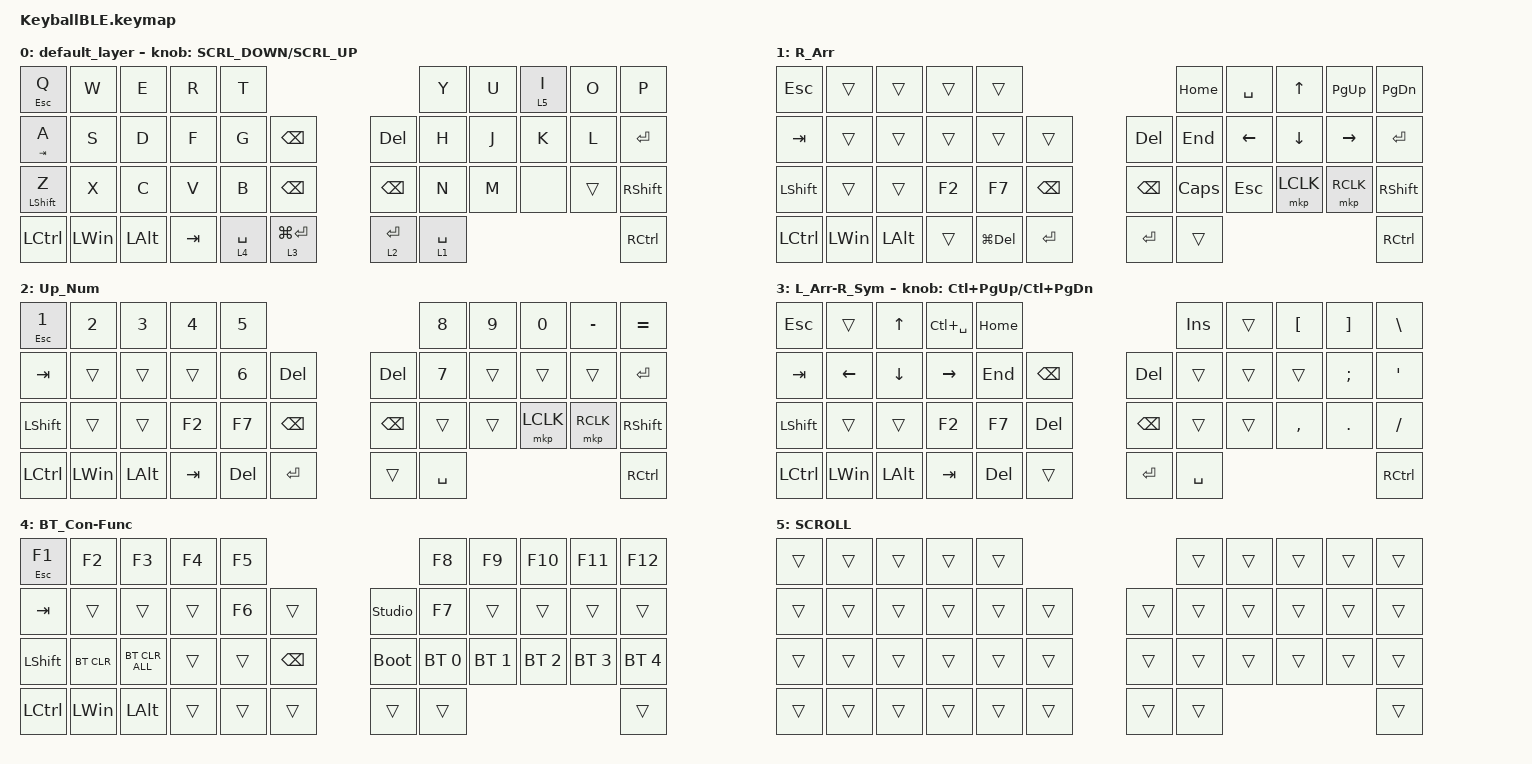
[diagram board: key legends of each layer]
#define ZMK_POINTING_DEFAULT_SCRL_VAL 120    // default: 10

#include <behaviors.dtsi>
#include <dt-bindings/zmk/bt.h>
#include <dt-bindings/zmk/keys.h>
#include <dt-bindings/zmk/pointing.h>

#define MOUSE 4
#define SCROLL 5
#define NUM 6

&mt {
    flavor = "balanced";
    quick-tap-ms = <0>;
};

/ {
    combos {
        compatible = "zmk,combos";

        Lclick {
            bindings = <&mkp LCLK>;
            key-positions = <30 31 30 31>;
            timeout-ms = <30>;
        };

        Rclick {
            bindings = <&mkp RCLK>;
            key-positions = <31 32>;
            timeout-ms = <30>;
        };

        Scroll {
            bindings = <&tog 5>;
            key-positions = <7 8>;
            timeout-ms = <30>;
        };

        Pre {
            bindings = <&mkp MB4>;
            key-positions = <18 19>;
            timeout-ms = <30>;
        };

        Next {
            bindings = <&mkp MB5>;
            key-positions = <19 20>;
            timeout-ms = <30>;
        };
    };

    macros {
        to_layer_0: to_layer_0 {
            compatible = "zmk,behavior-macro-one-param";
            #binding-cells = <1>;
            bindings = <&to 0 &macro_param_1to1 &kp MACRO_PLACEHOLDER>;
            label = "TO_LAYER_0";
        };

        switch_Jap_Eng: switch_Jap_Eng {
            compatible = "zmk,behavior-macro";
            #binding-cells = <0>;
            bindings = <&switch_Jap_Eng>;
            label = "SWITCH_JAP_ENG";
        };
    };

    behaviors {
        lt_to_layer_0: lt_to_layer_0 {
            compatible = "zmk,behavior-hold-tap";
            label = "LAYER_TAP_TO_0";
            bindings = <&mo>, <&to_layer_0>;

            #binding-cells = <2>;
            tapping-term-ms = <200>;
        };

        ROTATE: ROTATE {
            compatible = "zmk,behavior-sensor-rotate-var";
            label = "ROTATE";
            #sensor-binding-cells = <2>;
            bindings = <&msc>, <&msc>;

            tap-ms = <20>;
        };
    };

    keymap {
        compatible = "zmk,keymap";

        default_layer {
            bindings = <
&mt ESCAPE Q      &kp W         &kp E         &kp R    &kp T                                                       &kp Y        &kp U  &lt 5 I  &kp O   &kp P
&mt TAB A         &kp S         &kp D         &kp F    &kp G        &kp BACKSPACE                   &kp DELETE     &kp H        &kp J  &kp K    &kp L   &kp ENTER
&mt LEFT_SHIFT Z  &kp X         &kp C         &kp V    &kp B        &kp BACKSPACE                   &kp BACKSPACE  &kp N        &kp M  &none    &trans  &kp RIGHT_SHIFT
&kp LCTRL         &kp LEFT_WIN  &kp LEFT_ALT  &kp TAB  &lt 4 SPACE  &lt_to_layer_0 3 LG(ENTER)      &lt 2 ENTER    &lt 1 SPACE                          &kp RIGHT_CONTROL
            >;

            sensor-bindings = <&ROTATE SCRL_DOWN SCRL_UP>;
        };

        R_Arr {
            bindings = <
&kp ESC           &trans    &trans        &trans  &trans                                         &kp HOME  &kp SPACE       &kp UP_ARROW    &kp PAGE_UP      &kp PAGE_DOWN
&kp TAB           &trans    &trans        &trans  &trans       &trans             &kp DELETE     &kp END   &kp LEFT_ARROW  &kp DOWN_ARROW  &kp RIGHT_ARROW  &kp ENTER
&kp LEFT_SHIFT    &trans    &trans        &kp F2  &kp F7       &kp BACKSPACE      &kp BACKSPACE  &kp CAPS  &kp ESC         &mkp LCLK       &mkp RCLK        &kp RIGHT_SHIFT
&kp LEFT_CONTROL  &kp LWIN  &kp LEFT_ALT  &trans  &kp LG(DEL)  &kp ENTER          &kp ENTER      &trans                                                     &kp RIGHT_CONTROL
            >;
        };

        Up_Num {
            bindings = <
&mt ESCAPE NUMBER_1  &kp NUMBER_2  &kp NUMBER_3  &kp N4   &kp N5                                          &kp N8     &kp N9  &kp N0     &kp MINUS  &kp EQUAL
&kp TAB              &trans        &trans        &trans   &kp NUMBER_6  &kp DEL            &kp DEL        &kp N7     &trans  &trans     &trans     &kp ENTER
&kp LEFT_SHIFT       &trans        &trans        &kp F2   &kp F7        &kp BACKSPACE      &kp BACKSPACE  &trans     &trans  &mkp LCLK  &mkp RCLK  &kp RIGHT_SHIFT
&kp LEFT_CONTROL     &kp LWIN      &kp LEFT_ALT  &kp TAB  &kp DEL       &kp ENTER          &trans         &kp SPACE                                &kp RIGHT_CONTROL
            >;
        };

        L_Arr-R_Sym {
            bindings = <
&kp ESCAPE        &trans          &kp UP_ARROW    &kp LC(SPACE)    &kp HOME                                      &kp INS    &trans  &kp LEFT_BRACKET  &kp RIGHT_BRACKET  &kp BACKSLASH
&kp TAB           &kp LEFT_ARROW  &kp DOWN_ARROW  &kp RIGHT_ARROW  &kp END     &kp BACKSPACE      &kp DEL        &trans     &trans  &trans            &kp SEMICOLON      &kp SQT
&kp LEFT_SHIFT    &trans          &trans          &kp F2           &kp F7      &kp DEL            &kp BACKSPACE  &trans     &trans  &kp COMMA         &kp PERIOD         &kp SLASH
&kp LEFT_CONTROL  &kp LWIN        &kp LEFT_ALT    &kp TAB          &kp DELETE  &trans             &kp ENTER      &kp SPACE                                               &kp RCTRL
            >;

            sensor-bindings = <&inc_dec_kp LC(PAGE_UP) LC(PAGE_DOWN)>;
        };

        BT_Con-Func {
            bindings = <
&mt ESCAPE F1     &kp F2      &kp F3          &kp F4  &kp F5                                     &kp F8        &kp F9        &kp F10       &kp F11       &kp F12
&kp TAB           &trans      &trans          &trans  &kp F6  &trans             &studio_unlock  &kp F7        &trans        &trans        &trans        &trans
&kp LEFT_SHIFT    &bt BT_CLR  &bt BT_CLR_ALL  &trans  &trans  &kp BACKSPACE      &bootloader     &bt BT_SEL 0  &bt BT_SEL 1  &bt BT_SEL 2  &bt BT_SEL 3  &bt BT_SEL 4
&kp LEFT_CONTROL  &kp LWIN    &kp LEFT_ALT    &trans  &trans  &trans             &trans          &trans                                                  &trans
            >;
        };

        SCROLL {
            bindings = <
&trans  &trans  &trans  &trans  &trans                      &trans  &trans  &trans  &trans  &trans
&trans  &trans  &trans  &trans  &trans  &trans      &trans  &trans  &trans  &trans  &trans  &trans
&trans  &trans  &trans  &trans  &trans  &trans      &trans  &trans  &trans  &trans  &trans  &trans
&trans  &trans  &trans  &trans  &trans  &trans      &trans  &trans                          &trans
            >;
        };
    };
};
